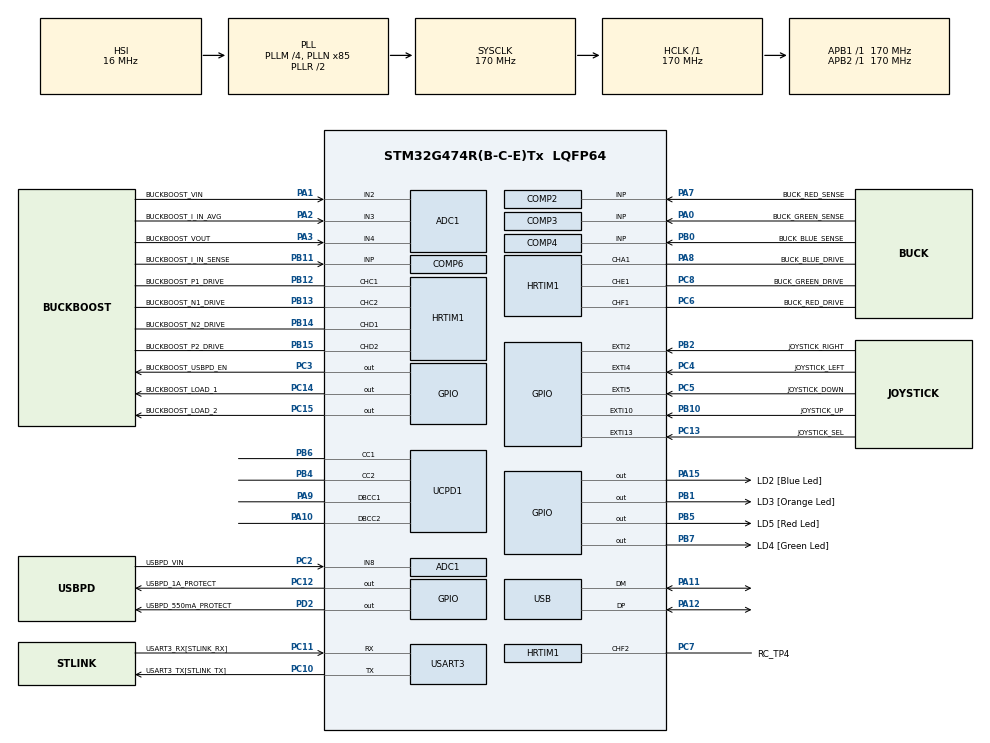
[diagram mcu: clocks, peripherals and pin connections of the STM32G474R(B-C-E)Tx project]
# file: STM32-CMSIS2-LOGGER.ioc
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ADC1.Channel-0\#ChannelRegularConversion=ADC_CHANNEL_8
ADC1.NbrOfConversionFlag=1
ADC1.OffsetNumber-0\#ChannelRegularConversion=ADC_OFFSET_NONE
ADC1.Rank-0\#ChannelRegularConversion=1
ADC1.SamplingTime-0\#ChannelRegularConversion=ADC_SAMPLETIME_2CYCLES_5
ADC1.master=1
DAC3.DAC_Channel-DAC_OUT2_Int=DAC_CHANNEL_2
FREERTOS.Queues01=loggerQueue,32,LogMessage,0,Static,loggerQueueBuffer,loggerQueueControlBlock
FREERTOS.Tasks01=task0,32,128,startTask0,Default,NULL,Static,task0Buffer,task0ControlBlock;task1,24,128,startTask1,Default,NULL,Static,task1Buffer,task1ControlBlock;task2,16,128,startTask2,Default,NULL,Static,task2Buffer,task2ControlBlock;loggerTask,8,128,startLoggerTask,Default,NULL,Static,loggerTaskBuffer,loggerTaskControlBlock
Mcu.Family=STM32G4
Mcu.Name=STM32G474R(B-C-E)Tx
Mcu.Package=LQFP64
NVIC.ADC1_2_IRQn=true\:5\:0\:false\:false\:true\:true\:true\:true\:true
NVIC.EXTI15_10_IRQn=true\:5\:0\:false\:false\:true\:true\:true\:true\:true
NVIC.EXTI2_IRQn=true\:5\:0\:false\:false\:true\:true\:true\:true\:true
NVIC.EXTI4_IRQn=true\:5\:0\:false\:false\:true\:true\:true\:true\:true
NVIC.EXTI9_5_IRQn=true\:5\:0\:false\:false\:true\:true\:true\:true\:true
NVIC.HRTIM1_Master_IRQn=true\:5\:0\:false\:false\:true\:true\:true\:true\:true
NVIC.HRTIM1_TIMF_IRQn=true\:5\:0\:false\:false\:true\:true\:true\:true\:true
NVIC.PriorityGroup=NVIC_PRIORITYGROUP_4
NVIC.TIM6_DAC_IRQn=true\:15\:0\:false\:false\:true\:false\:false\:true\:true
NVIC.TimeBase=TIM6_DAC_IRQn
NVIC.TimeBaseIP=TIM6
NVIC.USART3_IRQn=true\:5\:0\:false\:false\:true\:true\:true\:true\:true
NVIC.USB_HP_IRQn=true\:5\:0\:false\:false\:true\:true\:true\:true\:true
PA0.GPIO_Label=BUCK_GREEN_SENSE
PA0.Mode=INP
PA0.Signal=COMP3_INP
PA1.GPIO_Label=BUCKBOOST_VIN
PA1.Mode=IN2-Single-Ended
PA1.Signal=ADC1_IN2
PA10.Mode=EnableDeadBattery
PA10.Signal=UCPD1_DBCC2
PA11.Mode=Device
PA11.Signal=USB_DM
PA12.Mode=Device
PA12.Signal=USB_DP
PA13.Mode=Serial_Wire
PA13.Signal=SYS_JTMS-SWDIO
PA14.Mode=Serial_Wire
PA14.Signal=SYS_JTCK-SWCLK
PA15.GPIO_Label=LD2 [Blue Led]
PA15.Signal=GPIO_Output
PA2.GPIO_Label=BUCKBOOST_I_IN_AVG
PA2.Mode=IN3-Single-Ended
PA2.Signal=ADC1_IN3
PA3.GPIO_Label=BUCKBOOST_VOUT
PA3.Mode=IN4-Single-Ended
PA3.Signal=ADC1_IN4
PA7.GPIO_Label=BUCK_RED_SENSE
PA7.Mode=INP
PA7.Signal=COMP2_INP
PA8.GPIO_Label=BUCK_BLUE_DRIVE
PA8.Mode=Output_TA1
PA8.Signal=HRTIM1_CHA1
PA9.Mode=EnableDeadBattery
PA9.Signal=UCPD1_DBCC1
PB0.GPIO_Label=BUCK_BLUE_SENSE
PB0.Mode=INP
PB0.Signal=COMP4_INP
PB1.GPIO_Label=LD3 [Orange Led]
PB1.Signal=GPIO_Output
PB10.GPIO_Label=JOYSTICK_UP
PB10.GPIO_PuPd=GPIO_PULLUP
PB10.Signal=GPXTI10
PB11.GPIO_Label=BUCKBOOST_I_IN_SENSE
PB11.Mode=INP
PB11.Signal=COMP6_INP
PB12.GPIO_Label=BUCKBOOST_P1_DRIVE
PB12.Mode=Output_TC1TC2
PB12.Signal=HRTIM1_CHC1
PB13.GPIO_Label=BUCKBOOST_N1_DRIVE
PB13.Mode=Output_TC1TC2
PB13.Signal=HRTIM1_CHC2
PB14.GPIO_Label=BUCKBOOST_N2_DRIVE
PB14.Mode=Output_TD1TD2
PB14.Signal=HRTIM1_CHD1
PB15.GPIO_Label=BUCKBOOST_P2_DRIVE
PB15.Mode=Output_TD1TD2
PB15.Signal=HRTIM1_CHD2
PB2.GPIO_Label=JOYSTICK_RIGHT
PB2.GPIO_PuPd=GPIO_PULLUP
PB2.Signal=GPXTI2
PB3.Signal=SYS_JTDO-SWO
PB4.Mode=Sink_AllSignals
PB4.Signal=UCPD1_CC2
PB5.GPIO_Label=LD5 [Red Led]
PB5.Signal=GPIO_Output
PB6.Mode=Sink_AllSignals
PB6.Signal=UCPD1_CC1
PB7.GPIO_Label=LD4 [Green Led]
PB7.Signal=GPIO_Output
PC10.GPIO_Label=USART3_TX[STLINK_TX]
PC10.GPIO_Speed=GPIO_SPEED_FREQ_MEDIUM
PC10.Mode=Asynchronous
PC10.Signal=USART3_TX
PC11.GPIO_Label=USART3_RX[STLINK_RX]
PC11.GPIO_Speed=GPIO_SPEED_FREQ_MEDIUM
PC11.Mode=Asynchronous
PC11.Signal=USART3_RX
PC12.GPIO_Label=USBPD_1A_PROTECT
PC12.Signal=GPIO_Output
PC13.GPIO_Label=JOYSTICK_SEL
PC13.GPIO_PuPd=GPIO_PULLUP
PC13.Signal=GPXTI13
PC14-OSC32_IN.GPIO_Label=BUCKBOOST_LOAD_1
PC14-OSC32_IN.Signal=GPIO_Output
PC15-OSC32_OUT.GPIO_Label=BUCKBOOST_LOAD_2
PC15-OSC32_OUT.Signal=GPIO_Output
PC2.GPIO_Label=USBPD_VIN
PC2.Mode=IN8-Single-Ended
PC2.Signal=ADC1_IN8
PC3.GPIO_Label=BUCKBOOST_USBPD_EN
PC3.Signal=GPIO_Output
PC4.GPIO_Label=JOYSTICK_LEFT
PC4.GPIO_PuPd=GPIO_PULLUP
PC4.Signal=GPXTI4
PC5.GPIO_Label=JOYSTICK_DOWN
PC5.GPIO_PuPd=GPIO_PULLUP
PC5.Signal=GPXTI5
PC6.GPIO_Label=BUCK_RED_DRIVE
PC6.Mode=Output_TF1TF2
PC6.Signal=HRTIM1_CHF1
PC7.GPIO_Label=RC_TP4
PC7.Mode=Output_TF1TF2
PC7.Signal=HRTIM1_CHF2
PC8.GPIO_Label=BUCK_GREEN_DRIVE
PC8.Mode=Output_TE1
PC8.Signal=HRTIM1_CHE1
PD2.GPIO_Label=USBPD_550mA_PROTECT
PD2.Signal=GPIO_Output
ProjectManager.HeapSize=0x200
ProjectManager.StackSize=0x400
ProjectManager.TargetToolchain=CMake
RCC.ADC12Freq_Value=170000000
RCC.ADC345Freq_Value=170000000
RCC.AHBFreq_Value=170000000
RCC.APB1Freq_Value=170000000
RCC.APB1TimFreq_Value=170000000
RCC.APB2Freq_Value=170000000
RCC.APB2TimFreq_Value=170000000
RCC.CK48CLockSelection=RCC_USBCLKSOURCE_HSI48
RCC.CortexFreq_Value=170000000
RCC.EXTERNAL_CLOCK_VALUE=12288000
RCC.HCLKFreq_Value=170000000
RCC.HSE_VALUE=8000000
RCC.HSI48_VALUE=48000000
RCC.HSI_VALUE=16000000
RCC.LSE_VALUE=32768
RCC.PLLM=RCC_PLLM_DIV4
RCC.PLLN=85
RCC.PLLP=RCC_PLLP_DIV8
RCC.PLLQ=RCC_PLLQ_DIV8
RCC.SYSCLKFreq_VALUE=170000000
RCC.SYSCLKSource=RCC_SYSCLKSOURCE_PLLCLK
RCC.USBFreq_Value=48000000
RCC.VCOOutputFreq_Value=340000000
USART3.ClockPrescaler=PRESCALER_DIV4
USART3.VirtualMode-Asynchronous=VM_ASYNC
USART3.WordLength=WORDLENGTH_8B
VP_COMP2_VS_DAC3OUT2.Mode=INM_DAC3OUT2
VP_COMP3_VS_DAC3OUT1.Mode=INM_DAC3OUT1
VP_COMP4_VS_DAC1OUT1.Mode=INM_DAC1OUT1
VP_COMP6_VS_DAC2OUT1.Mode=INM_DAC2OUT1
VP_DAC1_VS_DACI1.Mode=DAC_OUT1_Int
VP_DAC2_VS_DACI1.Mode=DAC_OUT1_Int
VP_DAC3_VS_DACI1.Mode=DAC_OUT1_Int
VP_DAC3_VS_DACI2.Mode=DAC_OUT2_Int
VP_FREERTOS_VS_CMSIS_V2.Mode=CMSIS_V2
VP_SYS_VS_DBSignals.Mode=DisableDeadBatterySignals
VP_SYS_VS_tim6.Mode=TIM6
board=B-G474E-DPOW1

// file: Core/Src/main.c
/* USER CODE BEGIN Header */
/**
 ******************************************************************************
 * @file           : main.c
 * @brief          : Main program body
 ******************************************************************************
 * @attention
 *
 * Copyright (c) 2025 STMicroelectronics.
 * All rights reserved.
 *
 * This software is licensed under terms that can be found in the LICENSE file
 * in the root directory of this software component.
 * If no LICENSE file comes with this software, it is provided AS-IS.
 *
 ******************************************************************************
 */
/* USER CODE END Header */
#include "main.h"
#include "cmsis_os.h"

/* USER CODE BEGIN Includes */

#include "logger.h"
#include <stdio.h>

/* USER CODE END Includes */

typedef StaticTask_t osStaticThreadDef_t;
typedef StaticQueue_t osStaticMessageQDef_t;

ADC_HandleTypeDef hadc1;

COMP_HandleTypeDef hcomp2;
COMP_HandleTypeDef hcomp3;
COMP_HandleTypeDef hcomp4;
COMP_HandleTypeDef hcomp6;

DAC_HandleTypeDef hdac1;
DAC_HandleTypeDef hdac2;
DAC_HandleTypeDef hdac3;

HRTIM_HandleTypeDef hhrtim1;

UART_HandleTypeDef huart3;

PCD_HandleTypeDef hpcd_USB_FS;

/* Definitions for task0 */
osThreadId_t task0Handle;
uint32_t task0Buffer[128];
osStaticThreadDef_t task0ControlBlock;
const osThreadAttr_t task0_attributes = {
	.name = "task0",
	.stack_mem = &task0Buffer[0],
	.stack_size = sizeof(task0Buffer),
	.cb_mem = &task0ControlBlock,
	.cb_size = sizeof(task0ControlBlock),
	.priority = (osPriority_t)osPriorityAboveNormal,
};
/* Definitions for task1 */
osThreadId_t task1Handle;
uint32_t task1Buffer[128];
osStaticThreadDef_t task1ControlBlock;
const osThreadAttr_t task1_attributes = {
	.name = "task1",
	.stack_mem = &task1Buffer[0],
	.stack_size = sizeof(task1Buffer),
	.cb_mem = &task1ControlBlock,
	.cb_size = sizeof(task1ControlBlock),
	.priority = (osPriority_t)osPriorityNormal,
};
/* Definitions for task2 */
osThreadId_t task2Handle;
uint32_t task2Buffer[128];
osStaticThreadDef_t task2ControlBlock;
const osThreadAttr_t task2_attributes = {
	.name = "task2",
	.stack_mem = &task2Buffer[0],
	.stack_size = sizeof(task2Buffer),
	.cb_mem = &task2ControlBlock,
	.cb_size = sizeof(task2ControlBlock),
	.priority = (osPriority_t)osPriorityBelowNormal,
};
/* Definitions for loggerTask */
osThreadId_t loggerTaskHandle;
uint32_t loggerTaskBuffer[512];
osStaticThreadDef_t loggerTaskControlBlock;
const osThreadAttr_t loggerTask_attributes = {
	.name = "loggerTask",
	.stack_mem = &loggerTaskBuffer[0],
	.stack_size = sizeof(loggerTaskBuffer),
	.cb_mem = &loggerTaskControlBlock,
	.cb_size = sizeof(loggerTaskControlBlock),
	.priority = (osPriority_t)osPriorityLow,
};
/* Definitions for loggerQueue */
osMessageQueueId_t loggerQueueHandle;
uint8_t loggerQueueBuffer[32 * sizeof(LogMessage)];
osStaticMessageQDef_t loggerQueueControlBlock;
const osMessageQueueAttr_t loggerQueue_attributes = {
	.name = "loggerQueue",
	.cb_mem = &loggerQueueControlBlock,
	.cb_size = sizeof(loggerQueueControlBlock),
	.mq_mem = &loggerQueueBuffer,
	.mq_size = sizeof(loggerQueueBuffer)};

void SystemClock_Config(void);
static void MX_GPIO_Init(void);
static void MX_ADC1_Init(void);
static void MX_COMP2_Init(void);
static void MX_COMP3_Init(void);
static void MX_COMP4_Init(void);
static void MX_COMP6_Init(void);
static void MX_DAC1_Init(void);
static void MX_DAC2_Init(void);
static void MX_DAC3_Init(void);
static void MX_HRTIM1_Init(void);
static void MX_UCPD1_Init(void);
static void MX_USART3_UART_Init(void);
static void MX_USB_PCD_Init(void);
void startTask0(void *argument);
void startTask1(void *argument);
void startTask2(void *argument);
void startLoggerTask(void *argument);

/* USER CODE BEGIN 0 */

int _write(int file, char *ptr, int len)
{
	(void)file;
	if (HAL_UART_Transmit(&huart3, (uint8_t *)ptr, len, 100) != HAL_OK)
	{
		return -1;
	}
	return len;
}

/* USER CODE END 0 */

int main(void)
{

	/* MCU Configuration--------------------------------------------------------*/

	/* Reset of all peripherals, Initializes the Flash interface and the Systick. */
	HAL_Init();

	/* Configure the system clock */
	SystemClock_Config();

	/* Initialize all configured peripherals */
	MX_GPIO_Init();
	MX_ADC1_Init();
	MX_COMP2_Init();
	MX_COMP3_Init();
	MX_COMP4_Init();
	MX_COMP6_Init();
	MX_DAC1_Init();
	MX_DAC2_Init();
	MX_DAC3_Init();
	MX_HRTIM1_Init();
	MX_UCPD1_Init();
	MX_USART3_UART_Init();
	MX_USB_PCD_Init();
	/* USER CODE BEGIN 2 */

	LOG_init(&loggerQueueHandle);

	/* USER CODE END 2 */

	/* Init scheduler */
	osKernelInitialize();

	/* Create the queue(s) */
	/* creation of loggerQueue */
	loggerQueueHandle = osMessageQueueNew(32, sizeof(LogMessage), &loggerQueue_attributes);

	/* Create the thread(s) */
	/* creation of task0 */
	task0Handle = osThreadNew(startTask0, NULL, &task0_attributes);

	/* creation of task1 */
	task1Handle = osThreadNew(startTask1, NULL, &task1_attributes);

	/* creation of task2 */
	task2Handle = osThreadNew(startTask2, NULL, &task2_attributes);

	/* creation of loggerTask */
	loggerTaskHandle = osThreadNew(startLoggerTask, NULL, &loggerTask_attributes);

	/* Start scheduler */
	osKernelStart();

	/* We should never get here as control is now taken by the scheduler */

	/* Infinite loop */
	while (1)
	{

	}
}

void SystemClock_Config(void)
{
	RCC_OscInitTypeDef RCC_OscInitStruct = {0};
	RCC_ClkInitTypeDef RCC_ClkInitStruct = {0};

	/** Configure the main internal regulator output voltage
	 */
	HAL_PWREx_ControlVoltageScaling(PWR_REGULATOR_VOLTAGE_SCALE1_BOOST);

	/** Initializes the RCC Oscillators according to the specified parameters
	 * in the RCC_OscInitTypeDef structure.
	 */
	RCC_OscInitStruct.OscillatorType = RCC_OSCILLATORTYPE_HSI | RCC_OSCILLATORTYPE_HSI48;
	RCC_OscInitStruct.HSIState = RCC_HSI_ON;
	RCC_OscInitStruct.HSICalibrationValue = RCC_HSICALIBRATION_DEFAULT;
	RCC_OscInitStruct.HSI48State = RCC_HSI48_ON;
	RCC_OscInitStruct.PLL.PLLState = RCC_PLL_ON;
	RCC_OscInitStruct.PLL.PLLSource = RCC_PLLSOURCE_HSI;
	RCC_OscInitStruct.PLL.PLLM = RCC_PLLM_DIV4;
	RCC_OscInitStruct.PLL.PLLN = 85;
	RCC_OscInitStruct.PLL.PLLP = RCC_PLLP_DIV8;
	RCC_OscInitStruct.PLL.PLLQ = RCC_PLLQ_DIV8;
	RCC_OscInitStruct.PLL.PLLR = RCC_PLLR_DIV2;
	if (HAL_RCC_OscConfig(&RCC_OscInitStruct) != HAL_OK)
	{
		Error_Handler();
	}

	/** Initializes the CPU, AHB and APB buses clocks
	 */
	RCC_ClkInitStruct.ClockType = RCC_CLOCKTYPE_HCLK | RCC_CLOCKTYPE_SYSCLK | RCC_CLOCKTYPE_PCLK1 | RCC_CLOCKTYPE_PCLK2;
	RCC_ClkInitStruct.SYSCLKSource = RCC_SYSCLKSOURCE_PLLCLK;
	RCC_ClkInitStruct.AHBCLKDivider = RCC_SYSCLK_DIV1;
	RCC_ClkInitStruct.APB1CLKDivider = RCC_HCLK_DIV1;
	RCC_ClkInitStruct.APB2CLKDivider = RCC_HCLK_DIV1;

	if (HAL_RCC_ClockConfig(&RCC_ClkInitStruct, FLASH_LATENCY_4) != HAL_OK)
	{
		Error_Handler();
	}
}

static void MX_ADC1_Init(void)
{

	ADC_MultiModeTypeDef multimode = {0};
	ADC_ChannelConfTypeDef sConfig = {0};

	/** Common config
	 */
	hadc1.Instance = ADC1;
	hadc1.Init.ClockPrescaler = ADC_CLOCK_SYNC_PCLK_DIV4;
	hadc1.Init.Resolution = ADC_RESOLUTION_12B;
	hadc1.Init.DataAlign = ADC_DATAALIGN_RIGHT;
	hadc1.Init.GainCompensation = 0;
	hadc1.Init.ScanConvMode = ADC_SCAN_DISABLE;
	hadc1.Init.EOCSelection = ADC_EOC_SINGLE_CONV;
	hadc1.Init.LowPowerAutoWait = DISABLE;
	hadc1.Init.ContinuousConvMode = DISABLE;
	hadc1.Init.NbrOfConversion = 1;
	hadc1.Init.DiscontinuousConvMode = DISABLE;
	hadc1.Init.ExternalTrigConv = ADC_SOFTWARE_START;
	hadc1.Init.ExternalTrigConvEdge = ADC_EXTERNALTRIGCONVEDGE_NONE;
	hadc1.Init.DMAContinuousRequests = DISABLE;
	hadc1.Init.Overrun = ADC_OVR_DATA_PRESERVED;
	hadc1.Init.OversamplingMode = DISABLE;
	if (HAL_ADC_Init(&hadc1) != HAL_OK)
	{
		Error_Handler();
	}

	/** Configure the ADC multi-mode
	 */
	multimode.Mode = ADC_MODE_INDEPENDENT;
	if (HAL_ADCEx_MultiModeConfigChannel(&hadc1, &multimode) != HAL_OK)
	{
		Error_Handler();
	}

	/** Configure Regular Channel
	 */
	sConfig.Channel = ADC_CHANNEL_8;
	sConfig.Rank = ADC_REGULAR_RANK_1;
	sConfig.SamplingTime = ADC_SAMPLETIME_2CYCLES_5;
	sConfig.SingleDiff = ADC_SINGLE_ENDED;
	sConfig.OffsetNumber = ADC_OFFSET_NONE;
	sConfig.Offset = 0;
	if (HAL_ADC_ConfigChannel(&hadc1, &sConfig) != HAL_OK)
	{
		Error_Handler();
	}
}

static void MX_COMP2_Init(void)
{

	hcomp2.Instance = COMP2;
	hcomp2.Init.InputPlus = COMP_INPUT_PLUS_IO1;
	hcomp2.Init.InputMinus = COMP_INPUT_MINUS_DAC3_CH2;
	hcomp2.Init.OutputPol = COMP_OUTPUTPOL_NONINVERTED;
	hcomp2.Init.Hysteresis = COMP_HYSTERESIS_NONE;
	hcomp2.Init.BlankingSrce = COMP_BLANKINGSRC_NONE;
	hcomp2.Init.TriggerMode = COMP_TRIGGERMODE_NONE;
	if (HAL_COMP_Init(&hcomp2) != HAL_OK)
	{
		Error_Handler();
	}
}

static void MX_COMP3_Init(void)
{

	hcomp3.Instance = COMP3;
	hcomp3.Init.InputPlus = COMP_INPUT_PLUS_IO1;
	hcomp3.Init.InputMinus = COMP_INPUT_MINUS_DAC3_CH1;
	hcomp3.Init.OutputPol = COMP_OUTPUTPOL_NONINVERTED;
	hcomp3.Init.Hysteresis = COMP_HYSTERESIS_NONE;
	hcomp3.Init.BlankingSrce = COMP_BLANKINGSRC_NONE;
	hcomp3.Init.TriggerMode = COMP_TRIGGERMODE_NONE;
	if (HAL_COMP_Init(&hcomp3) != HAL_OK)
	{
		Error_Handler();
	}
}

static void MX_COMP4_Init(void)
{

	hcomp4.Instance = COMP4;
	hcomp4.Init.InputPlus = COMP_INPUT_PLUS_IO1;
	hcomp4.Init.InputMinus = COMP_INPUT_MINUS_DAC1_CH1;
	hcomp4.Init.OutputPol = COMP_OUTPUTPOL_NONINVERTED;
	hcomp4.Init.Hysteresis = COMP_HYSTERESIS_NONE;
	hcomp4.Init.BlankingSrce = COMP_BLANKINGSRC_NONE;
	hcomp4.Init.TriggerMode = COMP_TRIGGERMODE_NONE;
	if (HAL_COMP_Init(&hcomp4) != HAL_OK)
	{
		Error_Handler();
	}
}

static void MX_COMP6_Init(void)
{

	hcomp6.Instance = COMP6;
	hcomp6.Init.InputPlus = COMP_INPUT_PLUS_IO1;
	hcomp6.Init.InputMinus = COMP_INPUT_MINUS_DAC2_CH1;
	hcomp6.Init.OutputPol = COMP_OUTPUTPOL_NONINVERTED;
	hcomp6.Init.Hysteresis = COMP_HYSTERESIS_NONE;
	hcomp6.Init.BlankingSrce = COMP_BLANKINGSRC_NONE;
	hcomp6.Init.TriggerMode = COMP_TRIGGERMODE_NONE;
	if (HAL_COMP_Init(&hcomp6) != HAL_OK)
	{
		Error_Handler();
	}
}

static void MX_DAC1_Init(void)
{

	DAC_ChannelConfTypeDef sConfig = {0};

	/** DAC Initialization
	 */
	hdac1.Instance = DAC1;
	if (HAL_DAC_Init(&hdac1) != HAL_OK)
	{
		Error_Handler();
	}

	/** DAC channel OUT1 config
	 */
	sConfig.DAC_HighFrequency = DAC_HIGH_FREQUENCY_INTERFACE_MODE_AUTOMATIC;
	sConfig.DAC_DMADoubleDataMode = DISABLE;
	sConfig.DAC_SignedFormat = DISABLE;
	sConfig.DAC_SampleAndHold = DAC_SAMPLEANDHOLD_DISABLE;
	sConfig.DAC_Trigger = DAC_TRIGGER_NONE;
	sConfig.DAC_Trigger2 = DAC_TRIGGER_NONE;
	sConfig.DAC_OutputBuffer = DAC_OUTPUTBUFFER_DISABLE;
	sConfig.DAC_ConnectOnChipPeripheral = DAC_CHIPCONNECT_INTERNAL;
	sConfig.DAC_UserTrimming = DAC_TRIMMING_FACTORY;
	if (HAL_DAC_ConfigChannel(&hdac1, &sConfig, DAC_CHANNEL_1) != HAL_OK)
	{
		Error_Handler();
	}
}

static void MX_DAC2_Init(void)
{

	DAC_ChannelConfTypeDef sConfig = {0};

	/** DAC Initialization
	 */
	hdac2.Instance = DAC2;
	if (HAL_DAC_Init(&hdac2) != HAL_OK)
	{
		Error_Handler();
	}

	/** DAC channel OUT1 config
	 */
	sConfig.DAC_HighFrequency = DAC_HIGH_FREQUENCY_INTERFACE_MODE_AUTOMATIC;
	sConfig.DAC_DMADoubleDataMode = DISABLE;
	sConfig.DAC_SignedFormat = DISABLE;
	sConfig.DAC_SampleAndHold = DAC_SAMPLEANDHOLD_DISABLE;
	sConfig.DAC_Trigger = DAC_TRIGGER_NONE;
	sConfig.DAC_Trigger2 = DAC_TRIGGER_NONE;
	sConfig.DAC_OutputBuffer = DAC_OUTPUTBUFFER_DISABLE;
	sConfig.DAC_ConnectOnChipPeripheral = DAC_CHIPCONNECT_INTERNAL;
	sConfig.DAC_UserTrimming = DAC_TRIMMING_FACTORY;
	if (HAL_DAC_ConfigChannel(&hdac2, &sConfig, DAC_CHANNEL_1) != HAL_OK)
	{
		Error_Handler();
	}
}

static void MX_DAC3_Init(void)
{

	DAC_ChannelConfTypeDef sConfig = {0};

	/** DAC Initialization
	 */
	hdac3.Instance = DAC3;
	if (HAL_DAC_Init(&hdac3) != HAL_OK)
	{
		Error_Handler();
	}

	/** DAC channel OUT1 config
	 */
	sConfig.DAC_HighFrequency = DAC_HIGH_FREQUENCY_INTERFACE_MODE_AUTOMATIC;
	sConfig.DAC_DMADoubleDataMode = DISABLE;
	sConfig.DAC_SignedFormat = DISABLE;
	sConfig.DAC_SampleAndHold = DAC_SAMPLEANDHOLD_DISABLE;
	sConfig.DAC_Trigger = DAC_TRIGGER_NONE;
	sConfig.DAC_Trigger2 = DAC_TRIGGER_NONE;
	sConfig.DAC_OutputBuffer = DAC_OUTPUTBUFFER_DISABLE;
	sConfig.DAC_ConnectOnChipPeripheral = DAC_CHIPCONNECT_INTERNAL;
	sConfig.DAC_UserTrimming = DAC_TRIMMING_FACTORY;
	if (HAL_DAC_ConfigChannel(&hdac3, &sConfig, DAC_CHANNEL_1) != HAL_OK)
	{
		Error_Handler();
	}

	/** DAC channel OUT2 config
	 */
	if (HAL_DAC_ConfigChannel(&hdac3, &sConfig, DAC_CHANNEL_2) != HAL_OK)
	{
		Error_Handler();
	}
}

static void MX_HRTIM1_Init(void)
{

	HRTIM_TimeBaseCfgTypeDef pTimeBaseCfg = {0};
	HRTIM_TimerCtlTypeDef pTimerCtl = {0};
	HRTIM_TimerCfgTypeDef pTimerCfg = {0};
	HRTIM_OutputCfgTypeDef pOutputCfg = {0};

	hhrtim1.Instance = HRTIM1;
	hhrtim1.Init.HRTIMInterruptResquests = HRTIM_IT_NONE;
	hhrtim1.Init.SyncOptions = HRTIM_SYNCOPTION_NONE;
	if (HAL_HRTIM_Init(&hhrtim1) != HAL_OK)
	{
		Error_Handler();
	}
	if (HAL_HRTIM_DLLCalibrationStart(&hhrtim1, HRTIM_CALIBRATIONRATE_3) != HAL_OK)
	{
		Error_Handler();
	}
	if (HAL_HRTIM_PollForDLLCalibration(&hhrtim1, 10) != HAL_OK)
	{
		Error_Handler();
	}
	pTimeBaseCfg.Period = 0xFFDF;
	pTimeBaseCfg.RepetitionCounter = 0x00;
	pTimeBaseCfg.PrescalerRatio = HRTIM_PRESCALERRATIO_MUL32;
	pTimeBaseCfg.Mode = HRTIM_MODE_CONTINUOUS;
	if (HAL_HRTIM_TimeBaseConfig(&hhrtim1, HRTIM_TIMERINDEX_TIMER_A, &pTimeBaseCfg) != HAL_OK)
	{
		Error_Handler();
	}
	pTimerCtl.UpDownMode = HRTIM_TIMERUPDOWNMODE_UP;
	pTimerCtl.DualChannelDacEnable = HRTIM_TIMER_DCDE_DISABLED;
	if (HAL_HRTIM_WaveformTimerControl(&hhrtim1, HRTIM_TIMERINDEX_TIMER_A, &pTimerCtl) != HAL_OK)
	{
		Error_Handler();
	}
	pTimerCfg.InterruptRequests = HRTIM_TIM_IT_NONE;
	pTimerCfg.DMARequests = HRTIM_TIM_DMA_NONE;
	pTimerCfg.DMASrcAddress = 0x0000;
	pTimerCfg.DMADstAddress = 0x0000;
	pTimerCfg.DMASize = 0x1;
	pTimerCfg.HalfModeEnable = HRTIM_HALFMODE_DISABLED;
	pTimerCfg.InterleavedMode = HRTIM_INTERLEAVED_MODE_DISABLED;
	pTimerCfg.StartOnSync = HRTIM_SYNCSTART_DISABLED;
	pTimerCfg.ResetOnSync = HRTIM_SYNCRESET_DISABLED;
	pTimerCfg.DACSynchro = HRTIM_DACSYNC_NONE;
	pTimerCfg.PreloadEnable = HRTIM_PRELOAD_DISABLED;
	pTimerCfg.UpdateGating = HRTIM_UPDATEGATING_INDEPENDENT;
	pTimerCfg.BurstMode = HRTIM_TIMERBURSTMODE_MAINTAINCLOCK;
	pTimerCfg.RepetitionUpdate = HRTIM_UPDATEONREPETITION_DISABLED;
	pTimerCfg.PushPull = HRTIM_TIMPUSHPULLMODE_DISABLED;
	pTimerCfg.FaultEnable = HRTIM_TIMFAULTENABLE_NONE;
	pTimerCfg.FaultLock = HRTIM_TIMFAULTLOCK_READWRITE;
	pTimerCfg.DeadTimeInsertion = HRTIM_TIMDEADTIMEINSERTION_DISABLED;
	pTimerCfg.DelayedProtectionMode = HRTIM_TIMER_A_B_C_DELAYEDPROTECTION_DISABLED;
	pTimerCfg.UpdateTrigger = HRTIM_TIMUPDATETRIGGER_NONE;
	pTimerCfg.ResetTrigger = HRTIM_TIMRESETTRIGGER_NONE;
	pTimerCfg.ResetUpdate = HRTIM_TIMUPDATEONRESET_DISABLED;
	pTimerCfg.ReSyncUpdate = HRTIM_TIMERESYNC_UPDATE_UNCONDITIONAL;
	if (HAL_HRTIM_WaveformTimerConfig(&hhrtim1, HRTIM_TIMERINDEX_TIMER_A, &pTimerCfg) != HAL_OK)
	{
		Error_Handler();
	}
	if (HAL_HRTIM_WaveformTimerConfig(&hhrtim1, HRTIM_TIMERINDEX_TIMER_C, &pTimerCfg) != HAL_OK)
	{
		Error_Handler();
	}
	pTimerCfg.DelayedProtectionMode = HRTIM_TIMER_D_E_DELAYEDPROTECTION_DISABLED;
	if (HAL_HRTIM_WaveformTimerConfig(&hhrtim1, HRTIM_TIMERINDEX_TIMER_D, &pTimerCfg) != HAL_OK)
	{
		Error_Handler();
	}
	if (HAL_HRTIM_WaveformTimerConfig(&hhrtim1, HRTIM_TIMERINDEX_TIMER_E, &pTimerCfg) != HAL_OK)
	{
		Error_Handler();
	}
	pTimerCfg.DelayedProtectionMode = HRTIM_TIMER_F_DELAYEDPROTECTION_DISABLED;
	if (HAL_HRTIM_WaveformTimerConfig(&hhrtim1, HRTIM_TIMERINDEX_TIMER_F, &pTimerCfg) != HAL_OK)
	{
		Error_Handler();
	}
	pOutputCfg.Polarity = HRTIM_OUTPUTPOLARITY_HIGH;
	pOutputCfg.SetSource = HRTIM_OUTPUTSET_NONE;
	pOutputCfg.ResetSource = HRTIM_OUTPUTRESET_NONE;
	pOutputCfg.IdleMode = HRTIM_OUTPUTIDLEMODE_NONE;
	pOutputCfg.IdleLevel = HRTIM_OUTPUTIDLELEVEL_INACTIVE;
	pOutputCfg.FaultLevel = HRTIM_OUTPUTFAULTLEVEL_NONE;
	pOutputCfg.ChopperModeEnable = HRTIM_OUTPUTCHOPPERMODE_DISABLED;
	pOutputCfg.BurstModeEntryDelayed = HRTIM_OUTPUTBURSTMODEENTRY_REGULAR;
	if (HAL_HRTIM_WaveformOutputConfig(&hhrtim1, HRTIM_TIMERINDEX_TIMER_A, HRTIM_OUTPUT_TA1, &pOutputCfg) != HAL_OK)
	{
		Error_Handler();
	}
	if (HAL_HRTIM_WaveformOutputConfig(&hhrtim1, HRTIM_TIMERINDEX_TIMER_C, HRTIM_OUTPUT_TC1, &pOutputCfg) != HAL_OK)
	{
		Error_Handler();
	}
	if (HAL_HRTIM_WaveformOutputConfig(&hhrtim1, HRTIM_TIMERINDEX_TIMER_D, HRTIM_OUTPUT_TD1, &pOutputCfg) != HAL_OK)
	{
		Error_Handler();
	}
	if (HAL_HRTIM_WaveformOutputConfig(&hhrtim1, HRTIM_TIMERINDEX_TIMER_E, HRTIM_OUTPUT_TE1, &pOutputCfg) != HAL_OK)
	{
		Error_Handler();
	}
	if (HAL_HRTIM_WaveformOutputConfig(&hhrtim1, HRTIM_TIMERINDEX_TIMER_F, HRTIM_OUTPUT_TF1, &pOutputCfg) != HAL_OK)
	{
		Error_Handler();
	}
	if (HAL_HRTIM_TimeBaseConfig(&hhrtim1, HRTIM_TIMERINDEX_TIMER_C, &pTimeBaseCfg) != HAL_OK)
	{
		Error_Handler();
	}
	if (HAL_HRTIM_WaveformTimerControl(&hhrtim1, HRTIM_TIMERINDEX_TIMER_C, &pTimerCtl) != HAL_OK)
	{
		Error_Handler();
	}
	if (HAL_HRTIM_WaveformOutputConfig(&hhrtim1, HRTIM_TIMERINDEX_TIMER_C, HRTIM_OUTPUT_TC2, &pOutputCfg) != HAL_OK)
	{
		Error_Handler();
	}
	if (HAL_HRTIM_WaveformOutputConfig(&hhrtim1, HRTIM_TIMERINDEX_TIMER_D, HRTIM_OUTPUT_TD2, &pOutputCfg) != HAL_OK)
	{
		Error_Handler();
	}
	if (HAL_HRTIM_WaveformOutputConfig(&hhrtim1, HRTIM_TIMERINDEX_TIMER_F, HRTIM_OUTPUT_TF2, &pOutputCfg) != HAL_OK)
	{
		Error_Handler();
	}
	if (HAL_HRTIM_TimeBaseConfig(&hhrtim1, HRTIM_TIMERINDEX_TIMER_D, &pTimeBaseCfg) != HAL_OK)
	{
		Error_Handler();
	}
	if (HAL_HRTIM_WaveformTimerControl(&hhrtim1, HRTIM_TIMERINDEX_TIMER_D, &pTimerCtl) != HAL_OK)
	{
		Error_Handler();
	}
	if (HAL_HRTIM_TimeBaseConfig(&hhrtim1, HRTIM_TIMERINDEX_TIMER_E, &pTimeBaseCfg) != HAL_OK)
	{
		Error_Handler();
	}
	if (HAL_HRTIM_WaveformTimerControl(&hhrtim1, HRTIM_TIMERINDEX_TIMER_E, &pTimerCtl) != HAL_OK)
	{
		Error_Handler();
	}
	if (HAL_HRTIM_TimeBaseConfig(&hhrtim1, HRTIM_TIMERINDEX_TIMER_F, &pTimeBaseCfg) != HAL_OK)
	{
		Error_Handler();
	}
	if (HAL_HRTIM_WaveformTimerControl(&hhrtim1, HRTIM_TIMERINDEX_TIMER_F, &pTimerCtl) != HAL_OK)
	{
		Error_Handler();
	}
	HAL_HRTIM_MspPostInit(&hhrtim1);
}

static void MX_UCPD1_Init(void)
{

	LL_GPIO_InitTypeDef GPIO_InitStruct = {0};

	/* Peripheral clock enable */
	LL_APB1_GRP2_EnableClock(LL_APB1_GRP2_PERIPH_UCPD1);

	LL_AHB2_GRP1_EnableClock(LL_AHB2_GRP1_PERIPH_GPIOB);
	/**UCPD1 GPIO Configuration
	PB4   ------> UCPD1_CC2
	PB6   ------> UCPD1_CC1
	*/
	GPIO_InitStruct.Pin = LL_GPIO_PIN_4;
	GPIO_InitStruct.Mode = LL_GPIO_MODE_ANALOG;
	GPIO_InitStruct.Pull = LL_GPIO_PULL_NO;
	LL_GPIO_Init(GPIOB, &GPIO_InitStruct);

	GPIO_InitStruct.Pin = LL_GPIO_PIN_6;
	GPIO_InitStruct.Mode = LL_GPIO_MODE_ANALOG;
	GPIO_InitStruct.Pull = LL_GPIO_PULL_NO;
	LL_GPIO_Init(GPIOB, &GPIO_InitStruct);

}

static void MX_USART3_UART_Init(void)
{

	huart3.Instance = USART3;
	huart3.Init.BaudRate = 115200;
	huart3.Init.WordLength = UART_WORDLENGTH_8B;
	huart3.Init.StopBits = UART_STOPBITS_1;
	huart3.Init.Parity = UART_PARITY_NONE;
	huart3.Init.Mode = UART_MODE_TX_RX;
	huart3.Init.HwFlowCtl = UART_HWCONTROL_NONE;
	huart3.Init.OverSampling = UART_OVERSAMPLING_16;
	huart3.Init.OneBitSampling = UART_ONE_BIT_SAMPLE_DISABLE;
	huart3.Init.ClockPrescaler = UART_PRESCALER_DIV4;
	huart3.AdvancedInit.AdvFeatureInit = UART_ADVFEATURE_NO_INIT;
	if (HAL_UART_Init(&huart3) != HAL_OK)
	{
		Error_Handler();
	}
	if (HAL_UARTEx_SetTxFifoThreshold(&huart3, UART_TXFIFO_THRESHOLD_1_8) != HAL_OK)
	{
		Error_Handler();
	}
	if (HAL_UARTEx_SetRxFifoThreshold(&huart3, UART_RXFIFO_THRESHOLD_1_8) != HAL_OK)
	{
		Error_Handler();
	}
	if (HAL_UARTEx_DisableFifoMode(&huart3) != HAL_OK)
	{
		Error_Handler();
	}
}

static void MX_USB_PCD_Init(void)
{

	hpcd_USB_FS.Instance = USB;
	hpcd_USB_FS.Init.dev_endpoints = 8;
	hpcd_USB_FS.Init.speed = PCD_SPEED_FULL;
	hpcd_USB_FS.Init.phy_itface = PCD_PHY_EMBEDDED;
	hpcd_USB_FS.Init.Sof_enable = DISABLE;
	hpcd_USB_FS.Init.low_power_enable = DISABLE;
	hpcd_USB_FS.Init.lpm_enable = DISABLE;
	hpcd_USB_FS.Init.battery_charging_enable = DISABLE;
	if (HAL_PCD_Init(&hpcd_USB_FS) != HAL_OK)
	{
		Error_Handler();
	}
}

static void MX_GPIO_Init(void)
{
	GPIO_InitTypeDef GPIO_InitStruct = {0};

	/* GPIO Ports Clock Enable */
	__HAL_RCC_GPIOC_CLK_ENABLE();
	__HAL_RCC_GPIOA_CLK_ENABLE();
	__HAL_RCC_GPIOB_CLK_ENABLE();
	__HAL_RCC_GPIOD_CLK_ENABLE();

	/*Configure GPIO pin Output Level */
	HAL_GPIO_WritePin(GPIOC, BUCKBOOST_LOAD_1_Pin | BUCKBOOST_LOAD_2_Pin | BUCKBOOST_USBPD_EN_Pin | USBPD_1A_PROTECT_Pin, GPIO_PIN_RESET);

	/*Configure GPIO pin Output Level */
	HAL_GPIO_WritePin(GPIOB, LD3_Pin | LD5_Pin | LD4_Pin, GPIO_PIN_RESET);

	/*Configure GPIO pin Output Level */
	HAL_GPIO_WritePin(LD2_GPIO_Port, LD2_Pin, GPIO_PIN_RESET);

	/*Configure GPIO pin Output Level */
	HAL_GPIO_WritePin(USBPD_550mA_PROTECT_GPIO_Port, USBPD_550mA_PROTECT_Pin, GPIO_PIN_RESET);

	/*Configure GPIO pins : JOYSTICK_SEL_Pin JOYSTICK_LEFT_Pin JOYSTICK_DOWN_Pin */
	GPIO_InitStruct.Pin = JOYSTICK_SEL_Pin | JOYSTICK_LEFT_Pin | JOYSTICK_DOWN_Pin;
	GPIO_InitStruct.Mode = GPIO_MODE_IT_RISING;
	GPIO_InitStruct.Pull = GPIO_PULLUP;
	HAL_GPIO_Init(GPIOC, &GPIO_InitStruct);

	/*Configure GPIO pins : BUCKBOOST_LOAD_1_Pin BUCKBOOST_LOAD_2_Pin BUCKBOOST_USBPD_EN_Pin USBPD_1A_PROTECT_Pin */
	GPIO_InitStruct.Pin = BUCKBOOST_LOAD_1_Pin | BUCKBOOST_LOAD_2_Pin | BUCKBOOST_USBPD_EN_Pin | USBPD_1A_PROTECT_Pin;
	GPIO_InitStruct.Mode = GPIO_MODE_OUTPUT_PP;
	GPIO_InitStruct.Pull = GPIO_NOPULL;
	GPIO_InitStruct.Speed = GPIO_SPEED_FREQ_LOW;
	HAL_GPIO_Init(GPIOC, &GPIO_InitStruct);

	/*Configure GPIO pins : LD3_Pin LD5_Pin LD4_Pin */
	GPIO_InitStruct.Pin = LD3_Pin | LD5_Pin | LD4_Pin;
	GPIO_InitStruct.Mode = GPIO_MODE_OUTPUT_PP;
	GPIO_InitStruct.Pull = GPIO_NOPULL;
	GPIO_InitStruct.Speed = GPIO_SPEED_FREQ_LOW;
	HAL_GPIO_Init(GPIOB, &GPIO_InitStruct);

	/*Configure GPIO pins : JOYSTICK_RIGHT_Pin JOYSTICK_UP_Pin */
	GPIO_InitStruct.Pin = JOYSTICK_RIGHT_Pin | JOYSTICK_UP_Pin;
	GPIO_InitStruct.Mode = GPIO_MODE_IT_RISING;
	GPIO_InitStruct.Pull = GPIO_PULLUP;
	HAL_GPIO_Init(GPIOB, &GPIO_InitStruct);

	/*Configure GPIO pin : LD2_Pin */
	GPIO_InitStruct.Pin = LD2_Pin;
	GPIO_InitStruct.Mode = GPIO_MODE_OUTPUT_PP;
	GPIO_InitStruct.Pull = GPIO_NOPULL;
	GPIO_InitStruct.Speed = GPIO_SPEED_FREQ_LOW;
	HAL_GPIO_Init(LD2_GPIO_Port, &GPIO_InitStruct);

	/*Configure GPIO pin : USBPD_550mA_PROTECT_Pin */
	GPIO_InitStruct.Pin = USBPD_550mA_PROTECT_Pin;
	GPIO_InitStruct.Mode = GPIO_MODE_OUTPUT_PP;
	GPIO_InitStruct.Pull = GPIO_NOPULL;
	GPIO_InitStruct.Speed = GPIO_SPEED_FREQ_LOW;
	HAL_GPIO_Init(USBPD_550mA_PROTECT_GPIO_Port, &GPIO_InitStruct);

	/* EXTI interrupt init*/
	HAL_NVIC_SetPriority(EXTI2_IRQn, 5, 0);
	HAL_NVIC_EnableIRQ(EXTI2_IRQn);

	HAL_NVIC_SetPriority(EXTI4_IRQn, 5, 0);
	HAL_NVIC_EnableIRQ(EXTI4_IRQn);

	HAL_NVIC_SetPriority(EXTI9_5_IRQn, 5, 0);
	HAL_NVIC_EnableIRQ(EXTI9_5_IRQn);

	HAL_NVIC_SetPriority(EXTI15_10_IRQn, 5, 0);
	HAL_NVIC_EnableIRQ(EXTI15_10_IRQn);

}

void startTask0(void *argument)
{
	/* USER CODE BEGIN 5 */
	UNUSED(argument);
	osDelay(500);
	/* Infinite loop */
	for (;;)
	{
		HAL_GPIO_WritePin(LD3_GPIO_Port, LD3_Pin, GPIO_PIN_SET);
		LOG_INFO("pin set");
		osDelay(1000);
	}
	/* USER CODE END 5 */
}

void startTask1(void *argument)
{
	/* USER CODE BEGIN startTask1 */
	UNUSED(argument);
	/* Infinite loop */
	for (;;)
	{
		HAL_GPIO_WritePin(LD3_GPIO_Port, LD3_Pin, GPIO_PIN_RESET);
		LOG_WRN("pin reset");
		osDelay(1000);
	}
	/* USER CODE END startTask1 */
}

void startTask2(void *argument)
{
	/* USER CODE BEGIN startTask2 */
	UNUSED(argument);
	/* Infinite loop */
	for (;;)
	{
		HAL_GPIO_TogglePin(LD3_GPIO_Port, LD3_Pin);
		LOG_ERR("pin toggle");
		osDelay(300);
	}
	/* USER CODE END startTask2 */
}

void startLoggerTask(void *argument)
{
	/* USER CODE BEGIN startLoggerTask */
	UNUSED(argument);
	/* Infinite loop */
	for (;;)
	{
		LOG_task();
	}
	/* USER CODE END startLoggerTask */
}

void HAL_TIM_PeriodElapsedCallback(TIM_HandleTypeDef *htim)
{
	if (htim->Instance == TIM6)
	{
		HAL_IncTick();
	}
}

void Error_Handler(void)
{
	__disable_irq();
	while (1)
	{
	}
}
